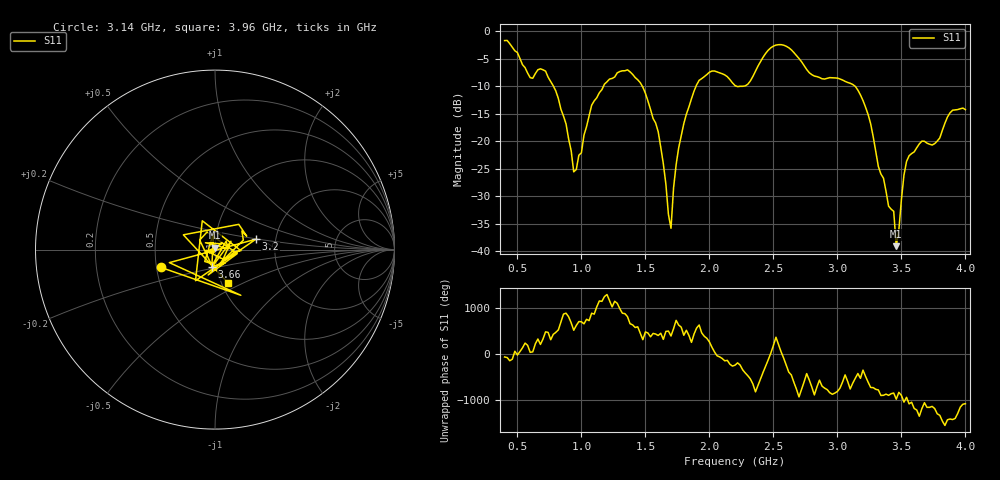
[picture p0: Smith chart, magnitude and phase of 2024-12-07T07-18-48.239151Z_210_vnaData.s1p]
!Created with skrf (http://scikit-rf.org).
# Hz S RI R 50.0
!freq ReS11 ImS11
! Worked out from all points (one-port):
!   181 points, 400 MHz to 4 GHz, reference 50 ohm
!   lowest |S11| = -39.1 dB at 3.46 GHz (marker M1), VSWR 1.02, Z = 49.7 + j1.08 ohm
!   |S11| at or under -10 dB: 782.1 MHz to 1.172 GHz (390 MHz wide, 39.9 % of centre); 1.476 GHz to 1.895 GHz (418.7 MHz wide, 24.8 % of centre); 3.14 GHz to end of sweep (the widest 3 of 4)
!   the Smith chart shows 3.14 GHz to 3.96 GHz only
!   S11 on the Smith chart (normalised r, x): 3.14 GHz: 0.53, -0.12; 3.2 GHz: 1.58, +0.19; 3.66 GHz: 0.95, -0.19; 3.96 GHz: 1.07, -0.41
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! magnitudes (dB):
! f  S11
! 400 MHz  -1.7
! 600 MHz  -8.4
! 720 MHz  -7.2
! 860 MHz  -15.4
! 940 MHz  -25.5
! 1.08 GHz  -13.4
! 1.3 GHz  -7.3
! 1.46 GHz  -9.3
! 1.58 GHz  -16.7
! 1.7 GHz  -35.8
! 1.72 GHz  -28.5
! 1.76 GHz  -21.2
! 1.92 GHz  -8.9
! 2.2 GHz  -9.8
! 2.5 GHz  -2.7
! 2.66 GHz  -3.9
! 3.1 GHz  -9.4
! 3.14 GHz  -10.0
! 3.2 GHz  -12.6
! 3.4 GHz  -31.8
! 3.44 GHz  -32.7
! 3.46 GHz  -39.1
! 3.52 GHz  -26.1
! 3.56 GHz  -22.6
! 3.66 GHz  -20.0
! 3.76 GHz  -20.4
! 3.96 GHz  -14.1
! 4 GHz  -14.2
